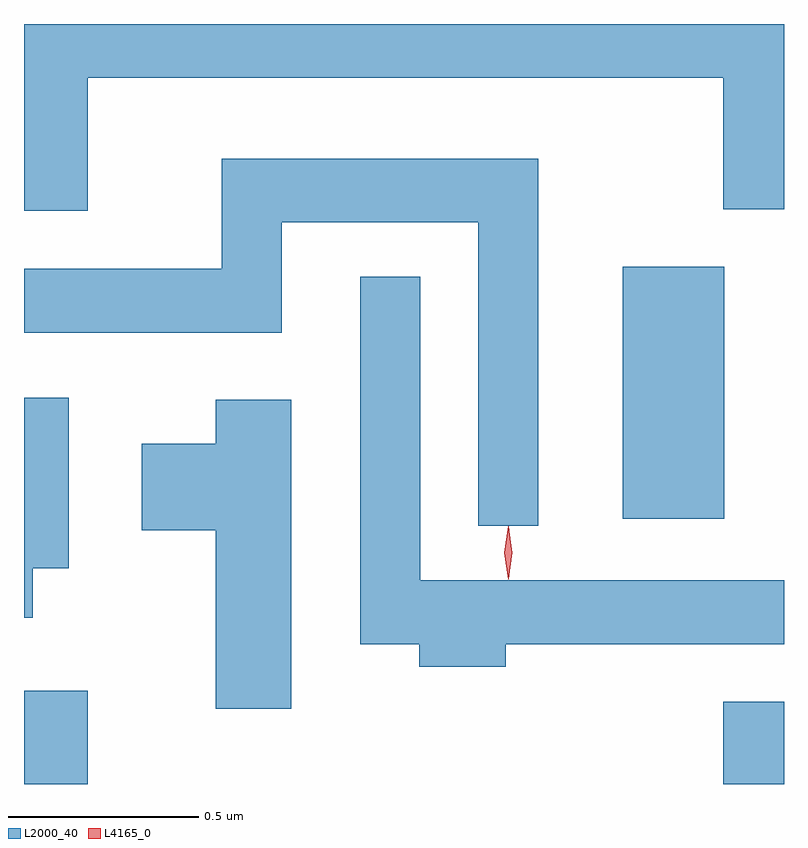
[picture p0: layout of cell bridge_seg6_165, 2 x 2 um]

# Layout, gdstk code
import gdstk
lib = gdstk.Library(unit=1e-6, precision=1e-09)
def R(c, l, rs):  # rectangles x0, y0, x1, y1
    for r in rs: c.add(gdstk.rectangle(r[:2], r[2:], *l))
def P(c, l, *ps):  # polygons
    for p in ps: c.add(gdstk.Polygon(p, *l))
L2000_40 = (2000, 40)
L4165_0 = (4165, 0)

bridge_seg6_165 = lib.new_cell('bridge_seg6_165')
R(bridge_seg6_165, L2000_40, [(1050.251,1592.578,1050.419,1592.824), (1052.091,1592.578,1052.251,1592.794), (1051.826,1593.276,1052.094,1593.939)])
P(bridge_seg6_165, L2000_40, [(1050.419,1594.436),(1052.091,1594.436),(1052.091,1594.091),(1052.251,1594.091),(1052.251,1594.578),(1050.251,1594.578),(1050.251,1594.086),(1050.419,1594.086)],
  [(1051.604,1594.224),(1050.771,1594.224),(1050.771,1593.934),(1050.251,1593.934),(1050.251,1593.766),(1050.929,1593.766),(1050.929,1594.056),(1051.446,1594.056),(1051.446,1593.258),(1051.604,1593.258)],
  [(1051.519,1592.946),(1052.251,1592.946),(1052.251,1593.114),(1051.294,1593.114),(1051.294,1593.913),(1051.136,1593.913),(1051.136,1592.946),(1051.291,1592.946),(1051.291,1592.886),(1051.519,1592.886)],
  [(1050.274,1593.146),(1050.369,1593.146),(1050.369,1593.594),(1050.251,1593.594),(1050.251,1593.016),(1050.274,1593.016)],
  [(1050.954,1593.589),(1050.756,1593.589),(1050.756,1593.474),(1050.561,1593.474),(1050.561,1593.246),(1050.756,1593.246),(1050.756,1592.776),(1050.954,1592.776)])
P(bridge_seg6_165, L4165_0, [(1051.525,1593.117),(1051.525,1593.117),(1051.515,1593.187),(1051.525,1593.256),(1051.525,1593.256),(1051.526,1593.256),(1051.535,1593.187),(1051.526,1593.117)],
  [(1051.526,1593.119),(1051.525,1593.12),(1051.516,1593.186),(1051.525,1593.252),(1051.526,1593.253),(1051.526,1593.252),(1051.536,1593.186),(1051.526,1593.12)])

lib.write_gds('bridge_seg6_165.gds')
